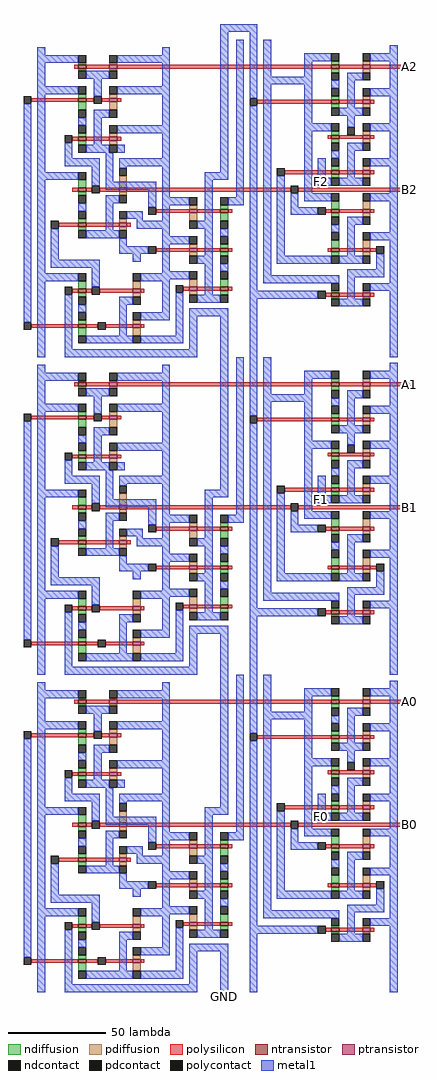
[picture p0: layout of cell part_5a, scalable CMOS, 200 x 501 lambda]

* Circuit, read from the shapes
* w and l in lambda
.subckt part_5a A0 A1 A2 B0 B1 B2 F0 F1 F2 GND VDD
M1 n1 n2 part_5_0_0/CIN_OUT VSUBS nfet w=4 l=2
M2 GND GND n1 VSUBS nfet w=4 l=2
M3 n3 GND part_5_0_0/B_OUT VSUBS nfet w=4 l=2
M4 GND B0 n3 VSUBS nfet w=4 l=2
M5 n4 B0 part_5_0_0/A_OUT VSUBS nfet w=4 l=2
M6 GND n2 n4 VSUBS nfet w=4 l=2
M7 GND A0 n2 VSUBS nfet w=4 l=2
M8 n5 n6 part_5_0_1/CIN_OUT VSUBS nfet w=4 l=2
M9 GND part_5_0_1/C_IN n5 VSUBS nfet w=4 l=2
M10 n7 part_5_0_1/C_IN part_5_0_1/B_OUT VSUBS nfet w=4 l=2
M11 GND B1 n7 VSUBS nfet w=4 l=2
M12 n8 B1 part_5_0_1/A_OUT VSUBS nfet w=4 l=2
M13 GND n6 n8 VSUBS nfet w=4 l=2
M14 GND A1 n6 VSUBS nfet w=4 l=2
M15 n9 n10 part_5_0_2/CIN_OUT VSUBS nfet w=4 l=2
M16 GND part_5_0_2/C_IN n9 VSUBS nfet w=4 l=2
M17 n11 part_5_0_2/C_IN part_5_0_2/B_OUT VSUBS nfet w=4 l=2
M18 GND B2 n11 VSUBS nfet w=4 l=2
M19 n12 B2 part_5_0_2/A_OUT VSUBS nfet w=4 l=2
M20 GND n10 n12 VSUBS nfet w=4 l=2
M21 GND A2 n10 VSUBS nfet w=4 l=2
M22 n13 part_5_0_0/CIN_OUT part_5_0_1/C_IN VSUBS nfet w=4 l=2
M23 n14 part_5_0_0/B_OUT n13 VSUBS nfet w=4 l=2
M24 GND part_5_0_0/A_OUT n14 VSUBS nfet w=4 l=2
M25 n15 part_5_0_1/CIN_OUT part_5_0_2/C_IN VSUBS nfet w=4 l=2
M26 n16 part_5_0_1/B_OUT n15 VSUBS nfet w=4 l=2
M27 GND part_5_0_1/A_OUT n16 VSUBS nfet w=4 l=2
M28 n17 part_5_0_2/CIN_OUT part_5_0_2/C_OUT VSUBS nfet w=4 l=2
M29 n18 part_5_0_2/B_OUT n17 VSUBS nfet w=4 l=2
M30 GND part_5_0_2/A_OUT n18 VSUBS nfet w=4 l=2
M31 GND part_5_0_2/C_OUT n19 VSUBS nfet w=4 l=2
M32 n20 n19 n21 VSUBS nfet w=4 l=2
M33 GND B0 n20 VSUBS nfet w=4 l=2
M34 n22 n21 F0 VSUBS nfet w=4 l=2
M35 GND n23 n22 VSUBS nfet w=4 l=2
M36 n24 part_5_0_2/C_OUT n23 VSUBS nfet w=4 l=2
M37 GND A0 n24 VSUBS nfet w=4 l=2
M38 GND part_5_0_2/C_OUT n25 VSUBS nfet w=4 l=2
M39 n26 n25 n27 VSUBS nfet w=4 l=2
M40 GND B1 n26 VSUBS nfet w=4 l=2
M41 n28 n27 F1 VSUBS nfet w=4 l=2
M42 GND n29 n28 VSUBS nfet w=4 l=2
M43 n30 part_5_0_2/C_OUT n29 VSUBS nfet w=4 l=2
M44 GND A1 n30 VSUBS nfet w=4 l=2
M45 GND part_5_0_2/C_OUT n31 VSUBS nfet w=4 l=2
M46 n32 n31 n33 VSUBS nfet w=4 l=2
M47 GND B2 n32 VSUBS nfet w=4 l=2
M48 n34 n33 F2 VSUBS nfet w=4 l=2
M49 GND n35 n34 VSUBS nfet w=4 l=2
M50 n36 part_5_0_2/C_OUT n35 VSUBS nfet w=4 l=2
M51 GND A2 n36 VSUBS nfet w=4 l=2
M52 VDD B0 part_5_0_0/A_OUT NWELL pfet w=4 l=2
M53 VDD n2 part_5_0_0/A_OUT NWELL pfet w=4 l=2
M54 VDD A0 n2 NWELL pfet w=4 l=2
M55 VDD B1 part_5_0_1/A_OUT NWELL pfet w=4 l=2
M56 VDD n6 part_5_0_1/A_OUT NWELL pfet w=4 l=2
M57 VDD A1 n6 NWELL pfet w=4 l=2
M58 VDD B2 part_5_0_2/A_OUT NWELL pfet w=4 l=2
M59 VDD n10 part_5_0_2/A_OUT NWELL pfet w=4 l=2
M60 VDD A2 n10 NWELL pfet w=4 l=2
M61 VDD GND part_5_0_0/B_OUT NWELL pfet w=4 l=2
M62 VDD B0 part_5_0_0/B_OUT NWELL pfet w=4 l=2
M63 VDD part_5_0_1/C_IN part_5_0_1/B_OUT NWELL pfet w=4 l=2
M64 VDD B1 part_5_0_1/B_OUT NWELL pfet w=4 l=2
M65 VDD part_5_0_2/C_IN part_5_0_2/B_OUT NWELL pfet w=4 l=2
M66 VDD B2 part_5_0_2/B_OUT NWELL pfet w=4 l=2
M67 VDD n2 part_5_0_0/CIN_OUT NWELL pfet w=4 l=2
M68 VDD GND part_5_0_0/CIN_OUT NWELL pfet w=4 l=2
M69 VDD n6 part_5_0_1/CIN_OUT NWELL pfet w=4 l=2
M70 VDD part_5_0_1/C_IN part_5_0_1/CIN_OUT NWELL pfet w=4 l=2
M71 VDD n10 part_5_0_2/CIN_OUT NWELL pfet w=4 l=2
M72 VDD part_5_0_2/C_IN part_5_0_2/CIN_OUT NWELL pfet w=4 l=2
M73 VDD part_5_0_0/CIN_OUT part_5_0_1/C_IN NWELL pfet w=4 l=2
M74 VDD part_5_0_0/B_OUT part_5_0_1/C_IN NWELL pfet w=4 l=2
M75 VDD part_5_0_0/A_OUT part_5_0_1/C_IN NWELL pfet w=4 l=2
M76 VDD part_5_0_1/CIN_OUT part_5_0_2/C_IN NWELL pfet w=4 l=2
M77 VDD part_5_0_1/B_OUT part_5_0_2/C_IN NWELL pfet w=4 l=2
M78 VDD part_5_0_1/A_OUT part_5_0_2/C_IN NWELL pfet w=4 l=2
M79 VDD part_5_0_2/CIN_OUT part_5_0_2/C_OUT NWELL pfet w=4 l=2
M80 VDD part_5_0_2/B_OUT part_5_0_2/C_OUT NWELL pfet w=4 l=2
M81 VDD part_5_0_2/A_OUT part_5_0_2/C_OUT NWELL pfet w=4 l=2
M82 VDD part_5_0_2/C_OUT n19 NWELL pfet w=4 l=2
M83 VDD n19 n21 NWELL pfet w=4 l=2
M84 VDD B0 n21 NWELL pfet w=4 l=2
M85 VDD n21 F0 NWELL pfet w=4 l=2
M86 VDD n23 F0 NWELL pfet w=4 l=2
M87 VDD part_5_0_2/C_OUT n23 NWELL pfet w=4 l=2
M88 VDD A0 n23 NWELL pfet w=4 l=2
M89 VDD part_5_0_2/C_OUT n25 NWELL pfet w=4 l=2
M90 VDD n25 n27 NWELL pfet w=4 l=2
M91 VDD B1 n27 NWELL pfet w=4 l=2
M92 VDD n27 F1 NWELL pfet w=4 l=2
M93 VDD n29 F1 NWELL pfet w=4 l=2
M94 VDD part_5_0_2/C_OUT n29 NWELL pfet w=4 l=2
M95 VDD A1 n29 NWELL pfet w=4 l=2
M96 VDD part_5_0_2/C_OUT n31 NWELL pfet w=4 l=2
M97 VDD n31 n33 NWELL pfet w=4 l=2
M98 VDD B2 n33 NWELL pfet w=4 l=2
M99 VDD n33 F2 NWELL pfet w=4 l=2
M100 VDD n35 F2 NWELL pfet w=4 l=2
M101 VDD part_5_0_2/C_OUT n35 NWELL pfet w=4 l=2
M102 VDD A2 n35 NWELL pfet w=4 l=2
.ends

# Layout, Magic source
magic
tech scmos
<< polysilicon >>
rect 163 455 167 457
rect 163 392 167 394
rect 163 292 167 294
rect 163 229 167 231
rect 163 129 167 131
rect 163 66 167 68
<< metal1 >>
rect 68 474 87 478
rect 68 470 72 474
rect 83 470 87 474
rect 118 395 122 399
rect 118 232 122 236
rect 118 69 122 73
rect 68 -23 72 -19
use part_5  part_5_0
array 0 0 196 0 2 163
transform 1 0 39 0 1 109
box -72 -128 124 35
<< labels >>
rlabel polysilicon 163 229 167 231 0 B1
rlabel polysilicon 163 292 167 294 0 A1
rlabel polysilicon 163 392 167 394 0 B2
rlabel polysilicon 163 455 167 457 0 A2
rlabel metal1 68 -23 72 -19 0 GND
rlabel polysilicon 163 66 167 68 0 B0
rlabel polysilicon 163 129 167 131 0 A0
rlabel metal1 118 69 122 73 0 F0
rlabel metal1 118 232 122 236 0 F1
rlabel metal1 118 395 122 399 0 F2
<< end >>

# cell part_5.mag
magic
tech scmos
<< ntransistor >>
rect -44 20 -40 22
rect 86 20 90 22
rect -44 3 -40 5
rect 86 2 90 4
rect -44 -17 -40 -15
rect 86 -16 90 -14
rect 86 -34 90 -32
rect -44 -43 -40 -41
rect 29 -54 33 -52
rect -44 -61 -40 -59
rect 86 -54 90 -52
rect 29 -74 33 -72
rect 86 -74 90 -72
rect -44 -95 -40 -93
rect 29 -94 33 -92
rect 86 -97 90 -95
rect -44 -113 -40 -111
<< ptransistor >>
rect -28 20 -24 22
rect 102 20 106 22
rect -28 3 -24 5
rect 102 2 106 4
rect -28 -17 -24 -15
rect 102 -16 106 -14
rect 102 -34 106 -32
rect -23 -43 -19 -41
rect 13 -54 17 -52
rect -23 -61 -19 -59
rect 102 -54 106 -52
rect 13 -74 17 -72
rect 102 -74 106 -72
rect -16 -95 -12 -93
rect 13 -94 17 -92
rect 102 -97 106 -95
rect -16 -113 -12 -111
<< ndiffusion >>
rect -44 22 -40 23
rect 86 22 90 24
rect -44 19 -40 20
rect 86 18 90 20
rect -44 5 -40 7
rect -44 -1 -40 3
rect 86 4 90 6
rect 86 0 90 2
rect -44 -15 -40 -13
rect 86 -14 90 -12
rect -44 -19 -40 -17
rect 86 -18 90 -16
rect -44 -41 -40 -37
rect 86 -32 90 -30
rect -44 -45 -40 -43
rect 86 -36 90 -34
rect -44 -59 -40 -57
rect 29 -52 33 -50
rect -44 -63 -40 -61
rect 29 -58 33 -54
rect 86 -52 90 -48
rect 86 -56 90 -54
rect 29 -72 33 -70
rect 86 -72 90 -68
rect 29 -76 33 -74
rect 86 -76 90 -74
rect -44 -93 -40 -89
rect -44 -97 -40 -95
rect 29 -92 33 -88
rect 29 -96 33 -94
rect 86 -95 90 -94
rect 86 -98 90 -97
rect -44 -111 -40 -109
rect -44 -117 -40 -113
<< pdiffusion >>
rect -28 22 -24 23
rect 102 22 106 24
rect -28 19 -24 20
rect 102 18 106 20
rect -28 5 -24 7
rect -28 -1 -24 3
rect 102 4 106 6
rect 102 0 106 2
rect -28 -15 -24 -13
rect 102 -14 106 -12
rect -28 -19 -24 -17
rect 102 -18 106 -16
rect 102 -32 106 -30
rect -23 -41 -19 -35
rect 102 -36 106 -34
rect -23 -45 -19 -43
rect 13 -52 17 -50
rect -23 -59 -19 -57
rect 13 -58 17 -54
rect -23 -63 -19 -61
rect 102 -52 106 -48
rect 102 -56 106 -54
rect 13 -72 17 -70
rect 102 -72 106 -68
rect 13 -76 17 -74
rect 102 -76 106 -74
rect -16 -93 -12 -89
rect 13 -92 17 -88
rect -16 -97 -12 -95
rect 13 -96 17 -94
rect 102 -95 106 -94
rect 102 -98 106 -97
rect -16 -111 -12 -109
rect -16 -117 -12 -113
<< ndcontact >>
rect -44 23 -40 27
rect 86 24 90 28
rect -44 15 -40 19
rect 86 14 90 18
rect -44 7 -40 11
rect 86 6 90 10
rect -44 -5 -40 -1
rect 86 -4 90 0
rect -44 -13 -40 -9
rect 86 -12 90 -8
rect -44 -23 -40 -19
rect 86 -22 90 -18
rect 86 -30 90 -26
rect -44 -37 -40 -33
rect 86 -40 90 -36
rect -44 -49 -40 -45
rect -44 -57 -40 -53
rect 29 -50 33 -46
rect 86 -48 90 -44
rect -44 -67 -40 -63
rect 29 -62 33 -58
rect 86 -60 90 -56
rect 29 -70 33 -66
rect 86 -68 90 -64
rect 29 -80 33 -76
rect 86 -80 90 -76
rect -44 -89 -40 -85
rect 29 -88 33 -84
rect 86 -94 90 -90
rect -44 -101 -40 -97
rect 29 -100 33 -96
rect 86 -102 90 -98
rect -44 -109 -40 -105
rect -44 -121 -40 -117
<< pdcontact >>
rect -28 23 -24 27
rect 102 24 106 28
rect -28 15 -24 19
rect 102 14 106 18
rect -28 7 -24 11
rect 102 6 106 10
rect -28 -5 -24 -1
rect 102 -4 106 0
rect -28 -13 -24 -9
rect 102 -12 106 -8
rect -28 -23 -24 -19
rect 102 -22 106 -18
rect -23 -35 -19 -31
rect 102 -30 106 -26
rect 102 -40 106 -36
rect -23 -49 -19 -45
rect 13 -50 17 -46
rect -23 -57 -19 -53
rect 13 -62 17 -58
rect 102 -48 106 -44
rect 102 -60 106 -56
rect -23 -67 -19 -63
rect 13 -70 17 -66
rect 102 -68 106 -64
rect 13 -80 17 -76
rect 102 -80 106 -76
rect -16 -89 -12 -85
rect 13 -88 17 -84
rect -16 -101 -12 -97
rect 13 -100 17 -96
rect 102 -94 106 -90
rect 102 -102 106 -98
rect -16 -109 -12 -105
rect -16 -121 -12 -117
<< polysilicon >>
rect -46 20 -44 22
rect -40 20 -28 22
rect -24 20 86 22
rect 90 20 102 22
rect 106 20 124 22
rect -68 3 -44 5
rect -40 3 -36 5
rect -32 3 -28 5
rect -24 3 -22 5
rect 48 2 86 4
rect 90 2 102 4
rect 106 2 108 4
rect -47 -17 -44 -15
rect -40 -17 -28 -15
rect -24 -17 -22 -15
rect 84 -16 86 -14
rect 90 -16 102 -14
rect 106 -16 108 -14
rect 62 -34 86 -32
rect 90 -34 102 -32
rect 106 -34 108 -32
rect -47 -43 -44 -41
rect -40 -43 -37 -41
rect -33 -43 -23 -41
rect -19 -43 65 -41
rect 69 -43 124 -41
rect -4 -54 13 -52
rect 17 -54 29 -52
rect 33 -54 35 -52
rect -54 -61 -44 -59
rect -40 -61 -23 -59
rect -19 -61 -17 -59
rect 83 -54 86 -52
rect 90 -54 102 -52
rect 106 -54 108 -52
rect -4 -74 13 -72
rect 17 -74 29 -72
rect 33 -74 35 -72
rect 84 -74 86 -72
rect 90 -74 102 -72
rect 106 -74 109 -72
rect -47 -95 -44 -93
rect -40 -95 -37 -93
rect -33 -95 -16 -93
rect -12 -95 -10 -93
rect 10 -94 13 -92
rect 17 -94 29 -92
rect 33 -94 35 -92
rect 83 -97 86 -95
rect 90 -97 102 -95
rect 106 -97 108 -95
rect -68 -113 -44 -111
rect -40 -113 -34 -111
rect -30 -113 -16 -111
rect -12 -113 -10 -111
<< polycontact >>
rect -72 2 -68 6
rect -36 2 -32 6
rect 44 1 48 5
rect -51 -18 -47 -14
rect 94 -14 98 -10
rect 58 -35 62 -31
rect -37 -44 -33 -40
rect 65 -44 69 -40
rect -58 -62 -54 -58
rect -8 -55 -4 -51
rect 79 -55 83 -51
rect -8 -75 -4 -71
rect 109 -75 113 -71
rect -51 -96 -47 -92
rect -37 -96 -33 -92
rect 6 -95 10 -91
rect 79 -98 83 -94
rect -72 -114 -68 -110
rect -34 -114 -30 -110
<< metal1 >>
rect -65 27 -61 31
rect -1 27 3 31
rect -65 23 -44 27
rect -24 23 3 27
rect -65 11 -61 23
rect -40 15 -28 19
rect -65 7 -44 11
rect -72 -110 -68 2
rect -65 -33 -61 7
rect -36 6 -32 15
rect -1 11 3 23
rect -24 7 3 11
rect -44 -9 -40 -5
rect -36 -5 -28 -1
rect -51 -26 -47 -18
rect -36 -19 -32 -5
rect -1 -9 3 7
rect -24 -13 3 -9
rect -40 -23 -28 -19
rect -24 -23 -20 -19
rect -51 -30 -33 -26
rect -65 -37 -44 -33
rect -65 -85 -61 -37
rect -37 -40 -33 -30
rect -30 -38 -26 -23
rect -1 -26 3 -13
rect -23 -30 3 -26
rect -23 -31 -19 -30
rect -30 -42 -4 -38
rect -44 -53 -40 -49
rect -30 -49 -23 -45
rect -58 -78 -54 -62
rect -30 -63 -26 -49
rect -8 -51 -4 -42
rect -19 -57 -11 -53
rect -1 -46 3 -30
rect 29 -33 33 35
rect 21 -37 33 -33
rect -1 -50 13 -46
rect -14 -58 -11 -57
rect -1 -58 3 -50
rect 21 -58 25 -37
rect 37 -46 41 35
rect 33 -50 41 -46
rect 44 5 48 35
rect -14 -62 3 -58
rect 17 -62 25 -58
rect -40 -67 -23 -63
rect -23 -71 -19 -67
rect -1 -66 3 -62
rect -1 -70 13 -66
rect -23 -75 -8 -71
rect -58 -82 -33 -78
rect -16 -79 -12 -75
rect -65 -89 -44 -85
rect -65 -128 -61 -89
rect -37 -92 -33 -82
rect -1 -84 3 -70
rect 21 -76 25 -62
rect 29 -66 33 -62
rect 17 -80 25 -76
rect -1 -85 13 -84
rect -12 -88 13 -85
rect -12 -89 3 -88
rect -51 -124 -47 -96
rect -44 -105 -40 -101
rect -23 -101 -16 -97
rect -23 -117 -19 -101
rect -1 -105 3 -89
rect -12 -109 3 -105
rect 6 -117 10 -95
rect 21 -96 25 -80
rect 29 -84 33 -80
rect 44 -94 48 1
rect 51 16 55 35
rect 116 28 120 32
rect 72 24 86 28
rect 106 24 120 28
rect 72 16 76 24
rect 51 12 76 16
rect 51 -86 55 12
rect 72 -8 76 12
rect 86 10 90 14
rect 94 14 102 18
rect 94 0 98 14
rect 116 10 120 24
rect 106 6 120 10
rect 90 -4 102 0
rect 72 -12 86 -8
rect 94 -10 98 -4
rect 116 -8 120 6
rect 58 -76 62 -35
rect 65 -51 69 -44
rect 72 -44 76 -12
rect 106 -12 120 -8
rect 86 -26 90 -22
rect 79 -36 83 -26
rect 94 -22 102 -18
rect 94 -36 98 -22
rect 116 -26 120 -12
rect 106 -30 120 -26
rect 79 -40 86 -36
rect 90 -40 102 -36
rect 116 -44 120 -30
rect 72 -48 86 -44
rect 106 -48 120 -44
rect 65 -55 79 -51
rect 86 -64 90 -60
rect 94 -60 102 -56
rect 94 -76 98 -60
rect 116 -64 120 -48
rect 106 -68 120 -64
rect 58 -80 86 -76
rect 90 -80 102 -76
rect 109 -83 113 -75
rect 51 -90 90 -86
rect 94 -87 113 -83
rect 17 -100 29 -96
rect 44 -98 79 -94
rect 94 -98 98 -87
rect 116 -90 120 -68
rect 106 -94 120 -90
rect -40 -121 -16 -117
rect -12 -121 10 -117
rect 13 -107 33 -103
rect 13 -124 17 -107
rect -51 -128 17 -124
rect 29 -128 33 -107
rect 44 -128 48 -98
rect 90 -102 102 -98
rect 116 -128 120 -94
<< labels >>
rlabel metal1 79 -30 83 -26 0 MUX_OUT
rlabel polysilicon 120 20 124 22 0 A
rlabel polysilicon 120 -43 124 -41 0 B
rlabel metal1 44 -128 48 -124 0 SEL
rlabel metal1 51 31 55 35 0 GND
rlabel metal1 44 31 48 35 0 SEL
rlabel metal1 37 31 41 35 0 GND
rlabel metal1 29 -128 33 -124 0 C_IN
rlabel metal1 29 31 33 35 0 C_OUT
rlabel metal1 -24 -23 -20 -19 0 A_OUT
rlabel metal1 -16 -79 -12 -75 0 B_OUT
rlabel metal1 -4 -121 0 -117 0 CIN_OUT
rlabel metal1 -1 27 3 31 0 VDD
rlabel metal1 -65 27 -61 31 0 GND
rlabel metal1 116 28 120 32 0 VDD
<< end >>
